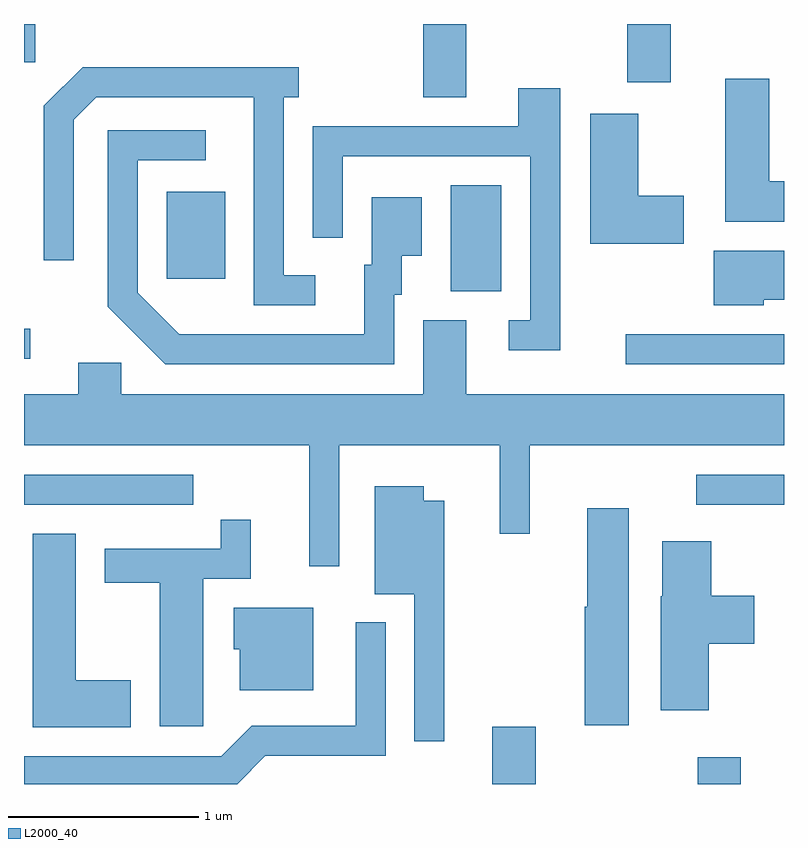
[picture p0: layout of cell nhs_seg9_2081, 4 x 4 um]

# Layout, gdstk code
import gdstk
lib = gdstk.Library(unit=1e-6, precision=1e-09)
def R(c, l, rs):  # rectangles x0, y0, x1, y1
    for r in rs: c.add(gdstk.rectangle(r[:2], r[2:], *l))
def P(c, l, *ps):  # polygons
    for p in ps: c.add(gdstk.Polygon(p, *l))
L2000_40 = (2000, 40)

nhs_seg9_2081 = lib.new_cell('nhs_seg9_2081')
R(nhs_seg9_2081, L2000_40, [(248.076,2034.432,248.304,2034.734), (249.156,2034.432,249.384,2034.574), (245.611,2035.901,246.503,2036.059), (249.148,2035.901,249.611,2036.059), (248.778,2036.641,249.611,2036.799), (245.611,2036.671,245.643,2036.829), (247.856,2037.026,248.124,2037.584), (246.361,2037.091,246.669,2037.549), (247.711,2038.046,247.939,2038.432), (248.786,2038.126,249.014,2038.432), (245.611,2038.231,245.669,2038.432)])
P(nhs_seg9_2081, L2000_40, [(247.143,2037.109),(246.979,2037.109),(246.979,2038.046),(247.058,2038.046),(247.058,2038.204),(245.919,2038.204),(245.716,2038.002),(245.716,2037.188),(245.874,2037.188),(245.874,2037.929),(245.992,2038.046),(246.821,2038.046),(246.821,2036.951),(247.143,2036.951)],
  [(249.611,2037.604),(249.534,2037.604),(249.534,2038.144),(249.301,2038.144),(249.301,2037.391),(249.611,2037.391)],
  [(248.434,2038.094),(248.211,2038.094),(248.211,2037.894),(247.131,2037.894),(247.131,2037.308),(247.289,2037.308),(247.289,2037.736),(248.276,2037.736),(248.276,2036.874),(248.163,2036.874),(248.163,2036.716),(248.434,2036.716)],
  [(249.084,2037.529),(248.844,2037.529),(248.844,2037.959),(248.591,2037.959),(248.591,2037.276),(249.084,2037.276)],
  [(247.559,2037.006),(247.599,2037.006),(247.599,2037.211),(247.704,2037.211),(247.704,2037.519),(247.441,2037.519),(247.441,2037.164),(247.401,2037.164),(247.401,2036.799),(246.427,2036.799),(246.209,2037.017),(246.209,2037.716),(246.568,2037.716),(246.568,2037.874),(246.051,2037.874),(246.051,2036.944),(246.354,2036.641),(247.559,2036.641)],
  [(249.504,2036.981),(249.611,2036.981),(249.611,2037.239),(249.241,2037.239),(249.241,2036.951),(249.504,2036.951)],
  [(247.269,2036.216),(248.116,2036.216),(248.116,2035.748),(248.274,2035.748),(248.274,2036.216),(249.611,2036.216),(249.611,2036.484),(247.939,2036.484),(247.939,2036.874),(247.711,2036.874),(247.711,2036.484),(246.124,2036.484),(246.124,2036.649),(245.896,2036.649),(245.896,2036.484),(245.611,2036.484),(245.611,2036.216),(247.111,2036.216),(247.111,2035.578),(247.269,2035.578)],
  [(247.824,2035.924),(247.714,2035.924),(247.714,2035.999),(247.456,2035.999),(247.456,2035.431),(247.666,2035.431),(247.666,2034.658),(247.824,2034.658)],
  [(248.794,2035.884),(248.576,2035.884),(248.576,2035.365),(248.561,2035.365),(248.561,2034.741),(248.794,2034.741)],
  [(246.554,2035.511),(246.804,2035.511),(246.804,2035.823),(246.646,2035.823),(246.646,2035.669),(246.036,2035.669),(246.036,2035.491),(246.326,2035.491),(246.326,2034.736),(246.554,2034.736)],
  [(246.174,2034.979),(245.884,2034.979),(245.884,2035.749),(245.656,2035.749),(245.656,2034.731),(246.174,2034.731)],
  [(249.214,2035.171),(249.454,2035.171),(249.454,2035.424),(249.229,2035.424),(249.229,2035.709),(248.971,2035.709),(248.971,2035.42),(248.961,2035.42),(248.961,2034.821),(249.214,2034.821)],
  [(247.134,2035.359),(246.716,2035.359),(246.716,2035.141),(246.746,2035.141),(246.746,2034.926),(247.134,2034.926)],
  [(246.882,2034.581),(247.514,2034.581),(247.514,2035.283),(247.356,2035.283),(247.356,2034.739),(246.809,2034.739),(246.649,2034.579),(245.611,2034.579),(245.611,2034.432),(246.733,2034.432)])

lib.write_gds('nhs_seg9_2081.gds')
